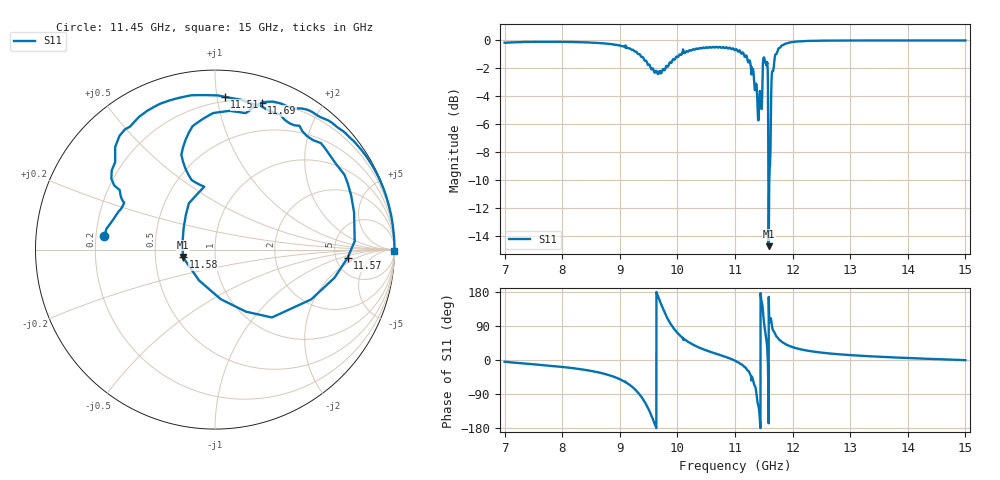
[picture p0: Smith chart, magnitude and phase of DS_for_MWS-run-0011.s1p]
! TOUCHSTONE file generated by CST DESIGN STUDIO
! Date and time: Mon Feb 10 16:51:00 2025
! Project name: C:\Work\MatlabApps\UnitCellType2OptimizationMatlab\CST\unitcell.cst
! Tree item: Tasks\Sweep1\SPara1\S-Parameters
! Header version: 2024
! Port assignment regex: !\s*Touchstone port\s*([0-9]+)\s*=\s*(CST MWS port|CST DES external port|CST DES block port)\s*(.+)\s* \(\"(.*)\"\)(\s*mode\s*([0-9]+))?.*
! Touchstone port assignment:
! Touchstone port 1 = CST DES external port 1 ("")
# GHz S MA R 50
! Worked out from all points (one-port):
!   4001 points, 7 GHz to 15 GHz, reference 50 ohm
!   lowest |S11| = -14.7 dB at 11.58 GHz (marker M1), VSWR 1.45, Z = 34.7 - j2.96 ohm
!   |S11| at or under -10 dB: 11.57921 GHz to 11.59539 GHz (16.18 MHz wide, 0.14 % of centre)
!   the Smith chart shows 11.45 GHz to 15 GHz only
!   S11 on the Smith chart (normalised r, x): 11.45 GHz: 0.23, +0.06; 11.51 GHz: 0.17, +1.05; 11.57 GHz: 6.43, -1.31; 11.58 GHz: 0.69, -0.06; 11.69 GHz: 0.22, +1.34; 15 GHz: open
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7  0.9819 -4.6
8  0.9882 -18.3
9  0.96 -50.7
9.196  0.928 -68.7
9.38  0.8721 -98.2
9.49  0.8175 -126.9
9.614  0.7697 -170.9
9.704  0.7722 151.8
9.794  0.7981 120.9
10  0.8731 71.4
10.364  0.9331 33.9
11  0.9233 -1.7
11.222  0.8424 -27.9
11.346  0.6643 -68.8
11.396  0.5486 -114.8
11.446  0.6217 172.8
11.472  0.6261 148.0
11.514  0.8529 86.3
11.538  0.8211 61.9
11.57  0.7403 -3.6
11.584  0.184 -167.0
11.62  0.4821 110.0
11.686  0.8575 72.4
11.802  0.9541 49.5
12  0.9872 33.9
13  0.9995 12.9
14  0.9999 5.2
15  0.9999 -0.4
